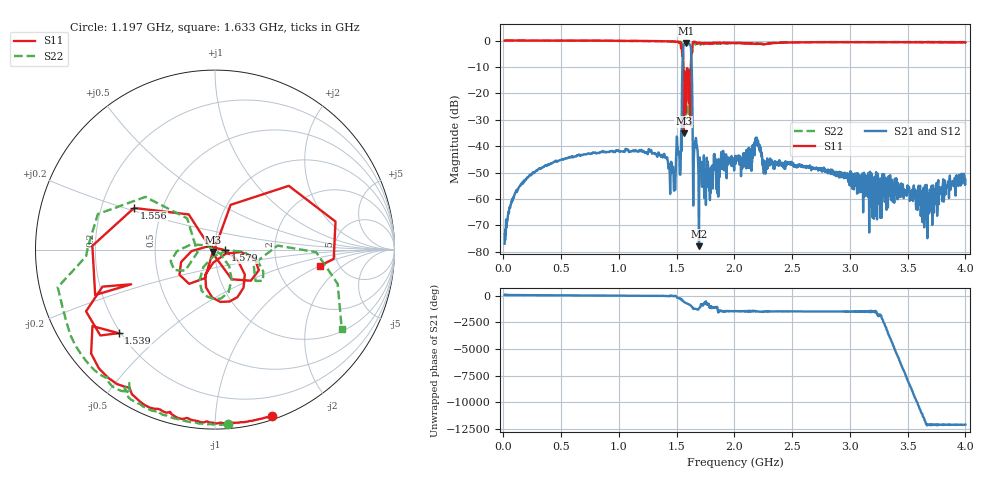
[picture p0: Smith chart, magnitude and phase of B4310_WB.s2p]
! Matrix data file written by TouchstoneData, EPCOS AG
! FILENAME: "newformat_LZ14B_1_WB.s2p"
! COMMENT: "(LZ14B_1_WB.s2p) EPCOS AG 15.12.2011 14:51:3"
! INFO: nport=2, nfreq=1601
! DATE: "Thu Dec 15 15:57:37 2011"
! USER: "Sergey Rostovtsev"
! port | pin | signal
!  1  |  1  |  in
!  2  |  4  |  out
# MHZ S MA R 50
! freq  magS11 angS11  magS21 angS21  magS12 angS12  magS22 angS22
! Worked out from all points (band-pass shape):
!   1601 points, 10 MHz to 4 GHz, reference 50 ohm
!   highest |S21| = -0.89 dB at 1.579 GHz (marker M1); lowest = -77.9 dB at 1.693 GHz (marker M2)
!   |S21| within 3 dB of the highest: 1.556 GHz to 1.625 GHz (69.05 MHz wide, 4.34 % of centre)
!   lowest |S11| = -35.1 dB at 1.561 GHz (marker M3), VSWR 1.04, Z = 48.8 - j1.26 ohm
!   |S11| at or under -10 dB: 1.558 GHz to 1.624 GHz (66.34 MHz wide, 4.17 % of centre)
!   |S22| runs from -28.6 to 0.0 dB; largest |S21 - S12| = 0.0011
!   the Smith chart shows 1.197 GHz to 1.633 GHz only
!   S11 on the Smith chart (normalised r, x): 1.197 GHz: 0.03, -1.40; 1.539 GHz: 0.19, -0.36; 1.556 GHz: 0.34, +0.21; 1.579 GHz: 1.12, -0.01; 1.633 GHz: 3.62, -1.00
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10  0.9947 -0.9  0.000142 99.8  0.0001072 90.3  0.993 -1.2
169.6  0.9979 -10.6  0.001953 72.0  0.001971 71.9  0.9962 -13.8
675.8312  0.9974 -40.8  0.006839 42.7  0.006834 42.6  0.9935 -52.4
1197.025  0.9794 -71.2  0.008415 9.7  0.00843 9.7  0.9741 -85.9
1341.662  0.973 -81.9  0.007594 9.8  0.007598 9.8  0.9704 -96.8
1473.831  0.9581 -100.3  0.002352 -37.3  0.002346 -37.2  0.9588 -115.4
1523.706  0.9155 -123.6  0.0059 115.3  0.005902 115.3  0.9496 -134.7
1538.669  0.711 -139.1  0.01941 -20.9  0.01941 -21.0  0.9212 -153.8
1556.125  0.5072 152.8  0.6608 -132.0  0.6613 -132.1  0.4863 142.9
1561.112  0.01754 -132.7  0.849 174.1  0.8496 174.1  0.09842 -171.2
1578.569  0.05655 -3.1  0.9025 60.5  0.9028 60.4  0.03946 -39.0
1613.481  0.2701 -25.3  0.8339 -116.6  0.8345 -116.7  0.2962 -24.6
1633.431  0.5931 -8.7  0.1664 35.6  0.1665 35.7  0.8334 -32.1
1658.369  0.9421 -45.2  0.01057 -130.7  0.01057 -130.7  0.8561 -70.1
1693.281  0.9135 -61.3  0.0001278 -97.5  0.0001252 -95.8  0.8677 -81.3
2005  0.8932 -88.4  0.005518 6.4  0.00552 6.4  0.8907 -104.8
2197.019  0.8667 -94.7  0.01043 -14.3  0.01042 -14.4  0.8827 -109.5
2261.856  0.8485 -94.4  0.004573 -22.8  0.004571 -22.8  0.8753 -110.7
2670.831  0.9283 -107.2  0.004057 -19.0  0.004055 -19.2  0.9295 -122.9
3336.662  0.929 -122.8  0.002562 -60.4  0.002563 -60.5  0.9288 -137.2
3650.875  0.9296 -128.5  0.001819 97.7  0.001829 98.0  0.9338 -143.3
4000  0.918 -133.6  0.002321 132.0  0.002316 137.0  0.9273 -149.4
